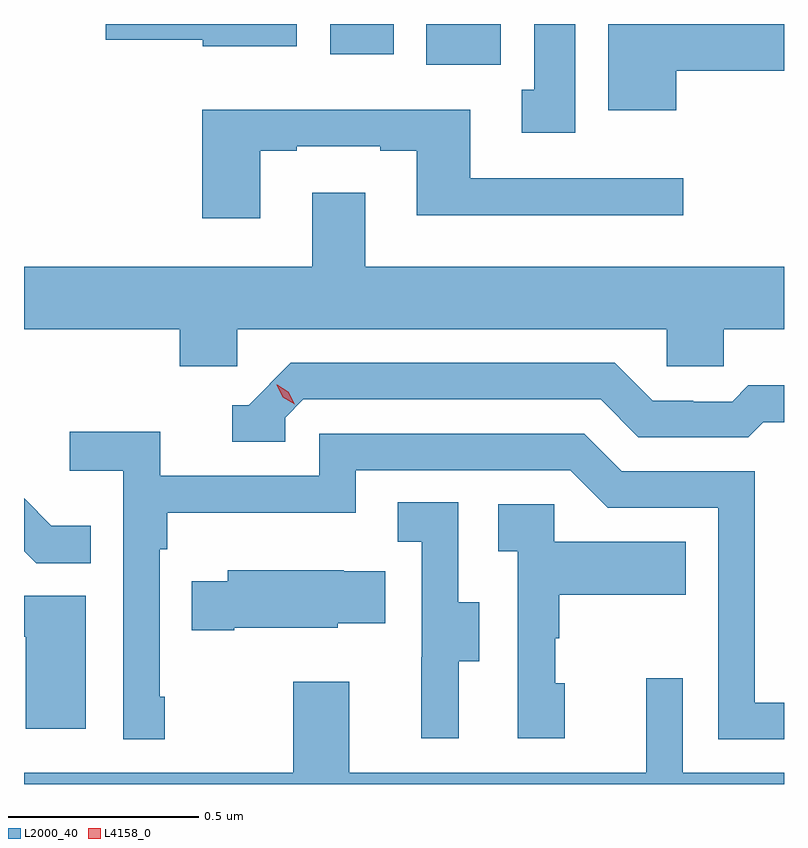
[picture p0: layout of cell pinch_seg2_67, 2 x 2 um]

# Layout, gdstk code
import gdstk
lib = gdstk.Library(unit=1e-6, precision=1e-09)
def R(c, l, rs):  # rectangles x0, y0, x1, y1
    for r in rs: c.add(gdstk.rectangle(r[:2], r[2:], *l))
def P(c, l, *ps):  # polygons
    for p in ps: c.add(gdstk.Polygon(p, *l))
L2000_40 = (2000, 40)
L4158_0 = (4158, 0)

pinch_seg2_67 = lib.new_cell('pinch_seg2_67')
R(pinch_seg2_67, L2000_40, [(1043.519,653.66,1043.716,653.767), (1043.267,653.688,1043.434,653.767)])
P(pinch_seg2_67, L2000_40, [(1044.178,653.644),(1044.461,653.644),(1044.461,653.767),(1043.999,653.767),(1043.999,653.54),(1044.178,653.54)],
  [(1043.911,653.767),(1043.804,653.767),(1043.804,653.594),(1043.771,653.594),(1043.771,653.481),(1043.911,653.481)],
  [(1043.179,653.767),(1042.676,653.767),(1042.676,653.726),(1042.932,653.726),(1042.932,653.708),(1043.179,653.708)],
  [(1043.083,653.433),(1043.179,653.433),(1043.179,653.445),(1043.399,653.445),(1043.399,653.433),(1043.495,653.433),(1043.495,653.264),(1044.196,653.264),(1044.196,653.361),(1043.635,653.361),(1043.635,653.542),(1042.93,653.542),(1042.93,653.256),(1043.083,653.256)],
  [(1042.461,652.964),(1042.871,652.964),(1042.871,652.866),(1043.022,652.866),(1043.022,652.964),(1044.153,652.964),(1044.153,652.866),(1044.303,652.866),(1044.303,652.964),(1044.461,652.964),(1044.461,653.128),(1043.359,653.128),(1043.359,653.323),(1043.219,653.323),(1043.219,653.128),(1042.461,653.128)],
  [(1043.148,652.731),(1043.196,652.779),(1043.979,652.779),(1044.078,652.68),(1044.367,652.68),(1044.406,652.719),(1044.461,652.719),(1044.461,652.816),(1044.367,652.816),(1044.325,652.773),(1044.222,652.773),(1044.222,652.776),(1044.115,652.776),(1044.016,652.875),(1043.163,652.875),(1043.052,652.764),(1043.009,652.764),(1043.009,652.668),(1043.148,652.668)],
  [(1042.831,651.997),(1042.818,651.997),(1042.818,652.385),(1042.838,652.385),(1042.838,652.481),(1043.334,652.481),(1043.334,652.593),(1043.898,652.593),(1043.997,652.494),(1044.288,652.494),(1044.288,651.885),(1044.461,651.885),(1044.461,651.981),(1044.384,651.981),(1044.384,652.59),(1044.034,652.59),(1043.935,652.689),(1043.238,652.689),(1043.238,652.578),(1042.82,652.578),(1042.82,652.694),(1042.581,652.694),(1042.581,652.592),(1042.722,652.592),(1042.722,651.885),(1042.831,651.885)],
  [(1042.637,652.447),(1042.533,652.447),(1042.461,652.519),(1042.461,652.38),(1042.493,652.348),(1042.637,652.348)],
  [(1043.605,652.09),(1043.659,652.09),(1043.659,652.245),(1043.604,652.245),(1043.604,652.508),(1043.445,652.508),(1043.445,652.405),(1043.508,652.405),(1043.508,652.101),(1043.507,652.101),(1043.507,651.888),(1043.605,651.888)],
  [(1043.884,652.032),(1043.859,652.032),(1043.859,652.151),(1043.869,652.151),(1043.869,652.265),(1044.203,652.265),(1044.203,652.405),(1043.856,652.405),(1043.856,652.503),(1043.709,652.503),(1043.709,652.379),(1043.76,652.379),(1043.76,651.888),(1043.884,651.888)],
  [(1043.014,652.178),(1043.286,652.178),(1043.286,652.19),(1043.411,652.19),(1043.411,652.327),(1043.303,652.327),(1043.303,652.33),(1042.997,652.33),(1042.997,652.3),(1042.903,652.3),(1042.903,652.171),(1043.014,652.171)],
  [(1042.624,652.263),(1042.461,652.263),(1042.461,652.155),(1042.466,652.155),(1042.466,651.912),(1042.624,651.912)],
  [(1044.461,651.796),(1044.195,651.796),(1044.195,652.045),(1044.098,652.045),(1044.098,651.796),(1043.317,651.796),(1043.317,652.036),(1043.17,652.036),(1043.17,651.796),(1042.461,651.796),(1042.461,651.767),(1044.461,651.767)])
P(pinch_seg2_67, L4158_0, [(1043.173,652.766),(1043.142,652.785),(1043.126,652.818),(1043.126,652.818),(1043.127,652.818),(1043.157,652.799),(1043.173,652.766),(1043.173,652.766)])

lib.write_gds('pinch_seg2_67.gds')
